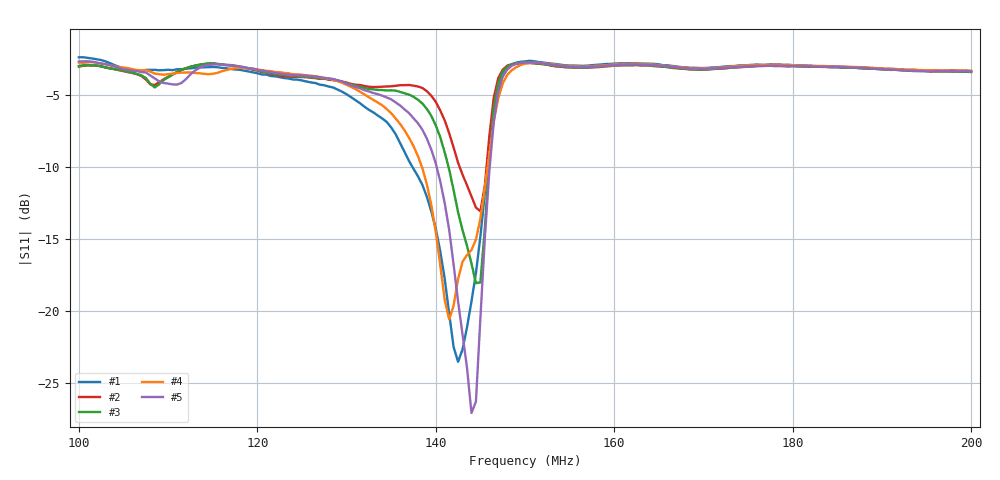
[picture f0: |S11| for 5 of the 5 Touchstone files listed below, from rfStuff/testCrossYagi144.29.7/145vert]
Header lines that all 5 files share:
#  HZ  S  RI  R  50.00
! Rohde & Schwarz ZVA40 2Ports - Version 3.12 - 1145.1110k40 SN: 100360
! Measurement: S11
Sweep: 100 MHz to 200 MHz
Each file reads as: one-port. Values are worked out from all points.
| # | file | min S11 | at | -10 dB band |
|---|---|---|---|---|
| 1 | origindesign.s1p | -23.5 dB | 142.5 MHz | 8.383 MHz wide |
| 2 | trial2.s1p | -13.1 dB | 145 MHz | 2.993 MHz wide |
| 3 | trial3.s1p | -18.0 dB | 144.5 MHz | 4.501 MHz wide |
| 4 | trial4.s1p | -20.6 dB | 141.5 MHz | 7.344 MHz wide |
| 5 | trial5.s1p | -27.1 dB | 144 MHz | 5.933 MHz wide |
